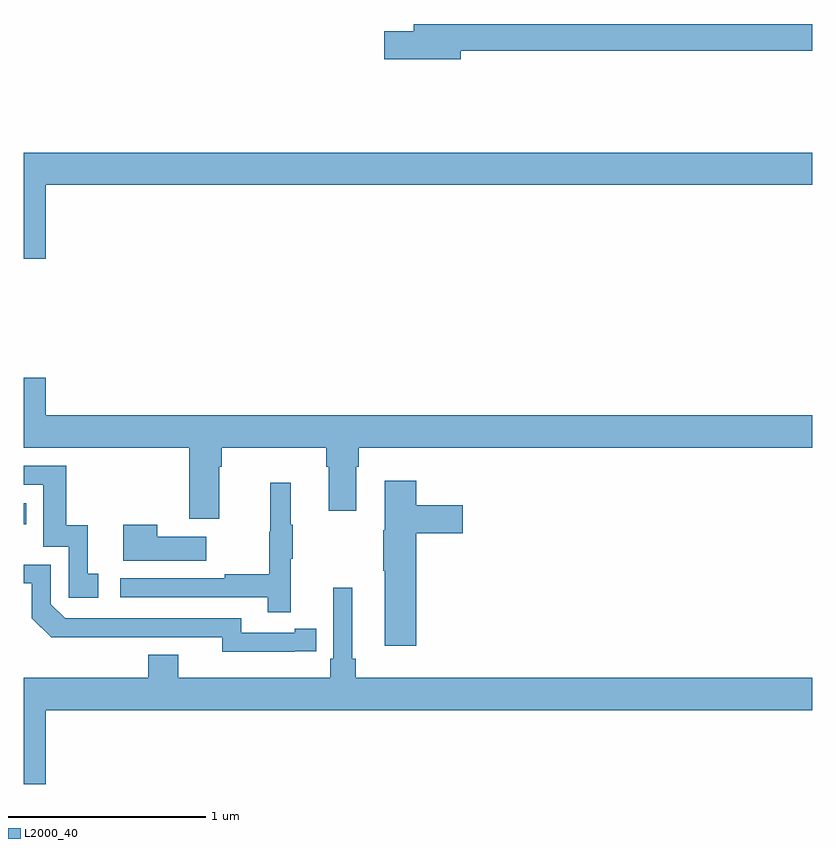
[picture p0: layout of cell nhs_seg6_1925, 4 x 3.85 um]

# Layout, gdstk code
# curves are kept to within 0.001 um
import gdstk
lib = gdstk.Library(unit=1e-6, precision=1e-09)
def R(c, l, rs):  # rectangles x0, y0, x1, y1
    for r in rs: c.add(gdstk.rectangle(r[:2], r[2:], *l))
def P(c, l, *ps):  # polygons
    for p in ps: c.add(gdstk.Polygon(p, *l))
L2000_40 = (2000, 40)

nhs_seg6_1925 = lib.new_cell('nhs_seg6_1925')
R(nhs_seg6_1925, L2000_40, [(225,994.899,225.014,995.005)])
P(nhs_seg6_1925, L2000_40, [(227.218,997.3),(229,997.3),(229,997.436),(226.979,997.436),(226.979,997.4),(226.83,997.4),(226.83,997.258),(227.218,997.258)],
  [(225.112,996.62),(229,996.62),(229,996.784),(225,996.784),(225,996.246),(225.112,996.246)],
  [(225.991,995.192),(226.004,995.192),(226.004,995.288),(226.535,995.288),(226.535,995.192),(226.547,995.192),(226.547,994.968),(226.687,994.968),(226.687,995.192),(226.7,995.192),(226.7,995.288),(229,995.288),(229,995.452),(225.112,995.452),(225.112,995.641),(225,995.641),(225,995.288),(225.839,995.288),(225.839,994.926),(225.991,994.926)],
  [(225.379,994.647),(225.326,994.647),(225.326,994.894),(225.215,994.894),(225.215,995.196),(225,995.196),(225,995.1),(225.099,995.1),(225.099,994.785),(225.228,994.785),(225.228,994.527),(225.379,994.527)],
  [(226.991,994.853),(227.227,994.853),(227.227,994.995),(226.991,994.995),(226.991,995.119),(226.832,995.119),(226.832,994.869),(226.825,994.869),(226.825,994.663),(226.832,994.663),(226.832,994.284),(226.991,994.284)],
  [(226.355,994.723),(226.366,994.723),(226.366,994.897),(226.355,994.897),(226.355,995.11),(226.252,995.11),(226.252,994.86),(226.245,994.86),(226.245,994.646),(226.021,994.646),(226.021,994.626),(225.489,994.626),(225.489,994.53),(226.237,994.53),(226.237,994.452),(226.355,994.452)],
  [(225.925,994.837),(225.677,994.837),(225.677,994.897),(225.506,994.897),(225.506,994.715),(225.925,994.715)],
  [(226.376,994.254),(226.484,994.254),(226.484,994.37),(226.376,994.37),(226.376,994.35),(226.104,994.35),(226.104,994.422),(225.21,994.422),(225.138,994.494),(225.138,994.695),(225,994.695),(225,994.599),(225.042,994.599),(225.042,994.422),(225.14,994.325),(226.008,994.326),(226.008,994.253)],
  [(225.112,993.956),(229,993.956),(229,994.12),(226.685,994.12),(226.685,994.216),(226.666,994.216),(226.666,994.576),(226.569,994.576),(226.569,994.216),(226.556,994.216),(226.556,994.12),(225.784,994.12),(225.784,994.237),(225.632,994.237),(225.632,994.12),(225,994.12),(225,993.582),(225.112,993.582)])

lib.write_gds('nhs_seg6_1925.gds')
